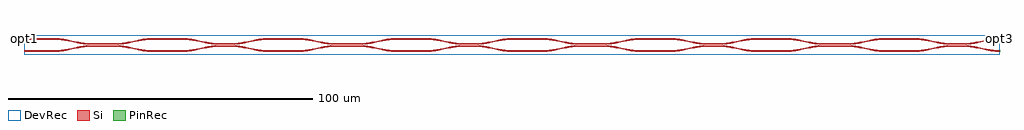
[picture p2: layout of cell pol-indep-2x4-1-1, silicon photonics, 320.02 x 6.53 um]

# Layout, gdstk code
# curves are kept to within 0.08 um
import gdstk
lib = gdstk.Library(unit=1e-6, precision=1e-09)
def R(c, l, rs):  # rectangles x0, y0, x1, y1
    for r in rs: c.add(gdstk.rectangle(r[:2], r[2:], *l))
def P(c, l, *ps):  # polygons
    for p in ps: c.add(gdstk.Polygon(p, *l))
Si = (1, 0)
PinRec = (1, 10)
DevRec = (68, 0)

layer_0_0_phase_sec_0_2 = lib.new_cell('layer-0_0_phase_sec_0$2')
P(layer_0_0_phase_sec_0_2, Si, [(4.612,-0.237),(0,-0.225),(0,0.225),(10,0.225),(10,-0.225)])

layer_0_0_phase_sec_1_2 = lib.new_cell('layer-0_0_phase_sec_1$2')
P(layer_0_0_phase_sec_1_2, Si, [(1.533,-0.234),(0,-0.225),(0,0.225),(10,0.225),(10,-0.225)])

dc_arm_up_8_2 = lib.new_cell('dc_arm_up_8$2')
R(dc_arm_up_8_2, Si, [(12,0.1,20,0.55)])
P(dc_arm_up_8_2, Si, [(12,0.1),(10.861,0.137),(9.344,0.292),(2.966,1.532),(1.481,1.712),(0,1.775),(0,2.225),(1.139,2.188),(2.656,2.033),(9.034,0.793),(10.519,0.613),(12,0.55)],
  [(20,0.1),(20,0.55),(21.481,0.613),(22.966,0.793),(29.344,2.033),(30.861,2.188),(32,2.225),(32,1.775),(30.519,1.712),(29.034,1.532),(22.656,0.292),(21.139,0.137)])

dc_arm_down_8_2 = lib.new_cell('dc_arm_down_8$2')
R(dc_arm_down_8_2, Si, [(12,-0.55,20,-0.1)])
P(dc_arm_down_8_2, Si, [(0,-2.225),(0,-1.775),(1.481,-1.712),(2.966,-1.532),(9.344,-0.292),(10.861,-0.137),(12,-0.1),(12,-0.55),(10.519,-0.613),(9.034,-0.793),(2.656,-2.033),(1.139,-2.188)],
  [(32,-2.225),(30.861,-2.188),(29.344,-2.033),(22.966,-0.793),(21.481,-0.613),(20,-0.55),(20,-0.1),(21.139,-0.137),(22.656,-0.292),(29.034,-1.532),(30.519,-1.712),(32,-1.775)])

dc_8_2 = lib.new_cell('dc_8$2')
dc_8_2.add(gdstk.Reference(dc_arm_up_8_2, (0,0)))
dc_8_2.add(gdstk.Reference(dc_arm_down_8_2, (0,0)))

layer_0_0_phase_sec_2_2 = lib.new_cell('layer-0_0_phase_sec_2$2')
P(layer_0_0_phase_sec_2_2, Si, [(6.176,-0.262),(0,-0.225),(0,0.225),(10,0.225),(10,-0.225)])

layer_0_0_phase_sec_3_2 = lib.new_cell('layer-0_0_phase_sec_3$2')
P(layer_0_0_phase_sec_3_2, Si, [(0,-0.225),(0,0.225),(10,0.225),(10,-0.225)])

dc_arm_up_4_2 = lib.new_cell('dc_arm_up_4$2')
R(dc_arm_up_4_2, Si, [(12,0.1,16,0.55)])
P(dc_arm_up_4_2, Si, [(12,0.1),(10.861,0.137),(9.344,0.292),(2.966,1.532),(1.481,1.712),(0,1.775),(0,2.225),(1.139,2.188),(2.656,2.033),(9.034,0.793),(10.519,0.613),(12,0.55)],
  [(16,0.1),(16,0.55),(17.481,0.613),(18.966,0.793),(25.344,2.033),(26.861,2.188),(28,2.225),(28,1.775),(26.519,1.712),(25.034,1.532),(18.656,0.292),(17.139,0.137)])

dc_arm_down_4_2 = lib.new_cell('dc_arm_down_4$2')
R(dc_arm_down_4_2, Si, [(12,-0.55,16,-0.1)])
P(dc_arm_down_4_2, Si, [(0,-2.225),(0,-1.775),(1.481,-1.712),(2.966,-1.532),(9.344,-0.292),(10.861,-0.137),(12,-0.1),(12,-0.55),(10.519,-0.613),(9.034,-0.793),(2.656,-2.033),(1.139,-2.188)],
  [(28,-2.225),(26.861,-2.188),(25.344,-2.033),(18.966,-0.793),(17.481,-0.613),(16,-0.55),(16,-0.1),(17.139,-0.137),(18.656,-0.292),(25.034,-1.532),(26.519,-1.712),(28,-1.775)])

dc_4_2 = lib.new_cell('dc_4$2')
dc_4_2.add(gdstk.Reference(dc_arm_up_4_2, (0,0)))
dc_4_2.add(gdstk.Reference(dc_arm_down_4_2, (0,0)))

layer_1_0_phase_sec_0_2 = lib.new_cell('layer-1_0_phase_sec_0$2')
P(layer_1_0_phase_sec_0_2, Si, [(1.538,-0.24),(0,-0.225),(0,0.225),(10,0.225),(10,-0.225)])

layer_1_0_phase_sec_1_2 = lib.new_cell('layer-1_0_phase_sec_1$2')
P(layer_1_0_phase_sec_1_2, Si, [(6.127,-0.228),(0,-0.225),(0,0.225),(10,0.225),(10,-0.225)])

layer_1_0_phase_sec_2_2 = lib.new_cell('layer-1_0_phase_sec_2$2')
P(layer_1_0_phase_sec_2_2, Si, [(6.164,-0.248),(0,-0.225),(0,0.225),(10,0.225),(10,-0.225)])

layer_1_0_phase_sec_3_2 = lib.new_cell('layer-1_0_phase_sec_3$2')
P(layer_1_0_phase_sec_3_2, Si, [(0,-0.225),(0,0.225),(10,0.225),(10,-0.225)])

layer_2_0_phase_sec_0_2 = lib.new_cell('layer-2_0_phase_sec_0$2')
P(layer_2_0_phase_sec_0_2, Si, [(0,-0.225),(0,0.225),(10,0.225),(10,-0.225)])

layer_2_0_phase_sec_1_2 = lib.new_cell('layer-2_0_phase_sec_1$2')
P(layer_2_0_phase_sec_1_2, Si, [(1.541,-0.246),(0,-0.225),(0,0.225),(10,0.225),(10,-0.225)])

layer_2_0_phase_sec_2_2 = lib.new_cell('layer-2_0_phase_sec_2$2')
P(layer_2_0_phase_sec_2_2, Si, [(0,-0.225),(0,0.225),(10,0.225),(10,-0.225)])

layer_2_0_phase_sec_3_2 = lib.new_cell('layer-2_0_phase_sec_3$2')
P(layer_2_0_phase_sec_3_2, Si, [(6.214,-0.265),(0,-0.225),(0,0.225),(10,0.225),(10,-0.225)])

layer_3_0_phase_sec_0_2 = lib.new_cell('layer-3_0_phase_sec_0$2')
P(layer_3_0_phase_sec_0_2, Si, [(7.693,-0.242),(0,-0.225),(0,0.225),(10,0.225),(10,-0.225)])

layer_3_0_phase_sec_1_2 = lib.new_cell('layer-3_0_phase_sec_1$2')
P(layer_3_0_phase_sec_1_2, Si, [(0,-0.225),(0,0.225),(10,0.225),(10,-0.225)])

layer_3_0_phase_sec_2_2 = lib.new_cell('layer-3_0_phase_sec_2$2')
P(layer_3_0_phase_sec_2_2, Si, [(0,-0.225),(0,0.225),(10,0.225),(10,-0.225)])

layer_3_0_phase_sec_3_2 = lib.new_cell('layer-3_0_phase_sec_3$2')
P(layer_3_0_phase_sec_3_2, Si, [(7.727,-0.253),(0,-0.225),(0,0.225),(10,0.225),(10,-0.225)])

pol_indep_2x4_1_1 = lib.new_cell('pol-indep-2x4-1-1')
R(pol_indep_2x4_1_1, DevRec, [(0,-1,320,5.527)])
pol_indep_2x4_1_1.add(gdstk.FlexPath([(0.01,4.265),(-0.01,4.265)], 0.45, ends="flush", simple_path=True, layer=1, datatype=10))  # PinRec
pol_indep_2x4_1_1.add(gdstk.FlexPath([(319.99,4.265),(320.01,4.265)], 0.45, ends="flush", simple_path=True, layer=1, datatype=10))  # PinRec
pol_indep_2x4_1_1.add(gdstk.FlexPath([(319.99,0.265),(320.01,0.265)], 0.45, ends="flush", simple_path=True, layer=1, datatype=10))  # PinRec
pol_indep_2x4_1_1.add(gdstk.Reference(layer_0_0_phase_sec_0_2, (0,4.265)))
pol_indep_2x4_1_1.add(gdstk.Reference(layer_0_0_phase_sec_1_2, (0,0.265)))
pol_indep_2x4_1_1.add(gdstk.Reference(dc_8_2, (10,2.265)))
pol_indep_2x4_1_1.add(gdstk.Reference(layer_0_0_phase_sec_2_2, (42,4.265)))
pol_indep_2x4_1_1.add(gdstk.Reference(layer_0_0_phase_sec_3_2, (42,0.265)))
pol_indep_2x4_1_1.add(gdstk.Reference(dc_4_2, (52,2.265)))
pol_indep_2x4_1_1.add(gdstk.Reference(layer_1_0_phase_sec_0_2, (80,4.265)))
pol_indep_2x4_1_1.add(gdstk.Reference(layer_1_0_phase_sec_1_2, (80,0.265)))
pol_indep_2x4_1_1.add(gdstk.Reference(dc_8_2, (90,2.265)))
pol_indep_2x4_1_1.add(gdstk.Reference(layer_1_0_phase_sec_2_2, (122,4.265)))
pol_indep_2x4_1_1.add(gdstk.Reference(layer_1_0_phase_sec_3_2, (122,0.265)))
pol_indep_2x4_1_1.add(gdstk.Reference(dc_4_2, (132,2.265)))
pol_indep_2x4_1_1.add(gdstk.Reference(layer_2_0_phase_sec_0_2, (160,4.265)))
pol_indep_2x4_1_1.add(gdstk.Reference(layer_2_0_phase_sec_1_2, (160,0.265)))
pol_indep_2x4_1_1.add(gdstk.Reference(dc_8_2, (170,2.265)))
pol_indep_2x4_1_1.add(gdstk.Reference(layer_2_0_phase_sec_2_2, (202,4.265)))
pol_indep_2x4_1_1.add(gdstk.Reference(layer_2_0_phase_sec_3_2, (202,0.265)))
pol_indep_2x4_1_1.add(gdstk.Reference(dc_4_2, (212,2.265)))
pol_indep_2x4_1_1.add(gdstk.Reference(layer_3_0_phase_sec_0_2, (240,4.265)))
pol_indep_2x4_1_1.add(gdstk.Reference(layer_3_0_phase_sec_1_2, (240,0.265)))
pol_indep_2x4_1_1.add(gdstk.Reference(dc_8_2, (250,2.265)))
pol_indep_2x4_1_1.add(gdstk.Reference(layer_3_0_phase_sec_2_2, (282,4.265)))
pol_indep_2x4_1_1.add(gdstk.Reference(layer_3_0_phase_sec_3_2, (282,0.265)))
pol_indep_2x4_1_1.add(gdstk.Reference(dc_4_2, (292,2.265)))
pol_indep_2x4_1_1.add(gdstk.Label('opt1', (0,4.265), layer=1, texttype=10))
pol_indep_2x4_1_1.add(gdstk.Label('opt3', (320,4.265), layer=1, texttype=10))
pol_indep_2x4_1_1.add(gdstk.Label('opt4', (320,0.265), layer=1, texttype=10))

lib.write_gds('pol-indep-2x4-1-1.gds')
